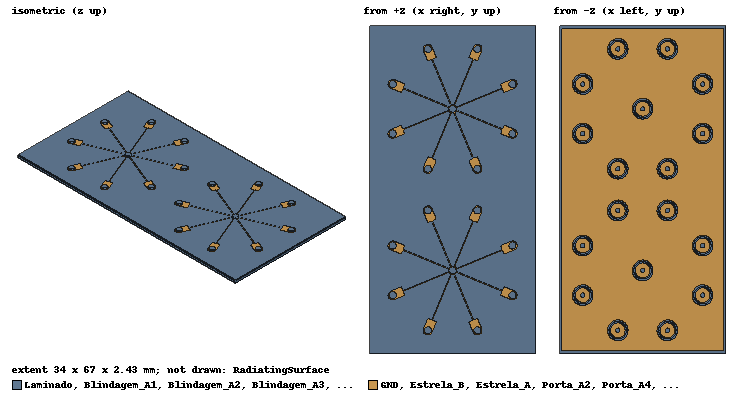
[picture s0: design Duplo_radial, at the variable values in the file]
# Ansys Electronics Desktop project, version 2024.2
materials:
  vacuum: permittivity=1
  ZYF300CA_C: permittivity=2.94 dielectric_loss_tangent=0.0016
  SAC305: permeability=1 conductivity=7575758
  PTFE_UT141: permittivity=2.036 dielectric_loss_tangent=0.0002
  copper: permeability=0.999991 conductivity=58000000

design Duplo_radial (HFSS, HFSS Hybrid Modal Network, model units mm)
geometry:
  Laminado [ZYF300CA_C] = box(corner=(-17mm, -33.5mm, 0mm), size=(34mm, 67mm, 0.76mm))
  GND = polyline(z=0mm, xy in mm: (-16.48, -32.98) (16.48, -32.98) (16.48, 32.98) (-16.48, 32.98) (-16.48, -32.98), closed, covered)
  Estrela_B = polyline(z=0.76mm, xy in mm: (-4.40127891, 3.58931963) (-4.49436279, 3.50768726) (-4.59730548, 3.43890315) (-4.70834561, 3.38414422) (-4.82558325, 3.3443474) (-4.94701244, 3.32019363) (-5.07055548, 3.31209619) (-5.19409852, 3.32019363) (-5.31552771, 3.3443474) (-5.43276535, 3.38414422) (-5.54380548, 3.43890315) (-5.64674817, 3.50768726) (-5.73983205, 3.58931963) (-5.82146442, 3.6824035) (-5.89024852, 3.78534619) (-5.94500746, 3.89638633) (-5.98480427, 4.01362397) (-6.00895804, 4.13505315) (-6.01705548, 4.25859619) (-6.00895804, 4.38213924) (-5.98480427, 4.50356842) (-5.94500746, 4.62080606) (-5.07593338, 6.71893648) (-4.27215819, 6.3860019) (-0.39786573, 15.73937129) (-0.43, 15.75521815) (-0.52353483, 15.81771613) (-0.60811183, 15.89188817) (-0.68228387, 15.97646517) (-0.74478185, 16.07) (-0.76062871, 16.10213427) (-10.1139981, 12.22784181) (-9.78106352, 11.42406662) (-11.87919394, 10.55499254) (-11.87919394, 10.55499254) (-11.99643158, 10.51519573) (-12.11786076, 10.49104196) (-12.24140381, 10.48294452) (-12.36494685, 10.49104196) (-12.48637603, 10.51519573) (-12.60361367, 10.55499254) (-12.71465381, 10.60975148) (-12.8175965, 10.67853558) (-12.91068037, 10.76016795) (-12.99231274, 10.85325183) (-13.06109685, 10.95619452) (-13.11585578, 11.06723465) (-13.1556526, 11.18447229) (-13.17980637, 11.30590148) (-13.18790381, 11.42944452) (-13.17980637, 11.55298756) (-13.1556526, 11.67441675) (-13.11585578, 11.79165439) (-13.06109685, 11.90269452) (-12.99231274, 12.00563721) (-12.91068037, 12.09872109) (-12.8175965, 12.18035346) (-12.71465381, 12.24913757) (-12.60361367, 12.3038965) (-12.60361367, 12.3038965) (-10.50548326, 13.17297057) (-10.17254867, 12.36919538) (-0.81917928, 16.24348784) (-0.83069621, 16.27741562) (-0.85264258, 16.38774747) (-0.86, 16.5) (-0.85264258, 16.61225253) (-0.83069621, 16.72258438) (-0.81917928, 16.75651216) (-10.17254867, 20.63080462) (-10.50548326, 19.82702943) (-12.60361367, 20.6961035) (-12.71465381, 20.75086243) (-12.8175965, 20.81964654) (-12.91068037, 20.90127891) (-12.99231274, 20.99436279) (-13.06109685, 21.09730548) (-13.11585578, 21.20834561) (-13.1556526, 21.32558325) (-13.17980637, 21.44701244) (-13.18790381, 21.57055548) (-13.17980637, 21.69409852) (-13.1556526, 21.81552771) (-13.11585578, 21.93276535) (-13.06109685, 22.04380548) (-12.99231274, 22.14674817) (-12.91068037, 22.23983205) (-12.8175965, 22.32146442) (-12.71465381, 22.39024852) (-12.60361367, 22.44500746) (-12.48637603, 22.48480427) (-12.36494685, 22.50895804) (-12.24140381, 22.51705548) (-12.11786076, 22.50895804) (-11.99643158, 22.48480427) (-11.87919394, 22.44500746) (-11.87919394, 22.44500746) (-9.78106352, 21.57593338) (-10.1139981, 20.77215819) (-0.76062871, 16.89786573) (-0.74478185, 16.93) (-0.68228387, 17.02353483) (-0.60811183, 17.10811183) (-0.52353483, 17.18228387) (-0.43, 17.24478185) (-0.39786573, 17.26062871) (-4.27215819, 26.6139981) (-5.07593338, 26.28106352) (-5.94500746, 28.37919394) (-5.98480427, 28.49643158) (-6.00895804, 28.61786076) (-6.01705548, 28.74140381) (-6.00895804, 28.86494685) (-5.98480427, 28.98637603) (-5.94500746, 29.10361367) (-5.89024852, 29.21465381) (-5.82146442, 29.3175965) (-5.73983205, 29.41068037) (-5.64674817, 29.49231274) (-5.54380548, 29.56109685) (-5.43276535, 29.61585578) (-5.31552771, 29.6556526) (-5.19409852, 29.67980637) (-5.07055548, 29.68790381) (-4.94701244, 29.67980637) (-4.82558325, 29.6556526) (-4.70834561, 29.61585578) (-4.59730548, 29.56109685) (-4.49436279, 29.49231274) (-4.40127891, 29.41068037) (-4.31964654, 29.3175965) (-4.25086243, 29.21465381) (-4.1961035, 29.10361367) (-4.1961035, 29.10361367) (-3.32702943, 27.00548326) (-4.13080462, 26.67254867) (-0.25651216, 17.31917928) (-0.22258438, 17.33069621) (-0.11225253, 17.35264258) (0, 17.36) (0.11225253, 17.35264258) (0.22258438, 17.33069621) (0.25651216, 17.31917928) (4.13080462, 26.67254867) (3.32702943, 27.00548326) (4.1961035, 29.10361367) (4.25086243, 29.21465381) (4.31964654, 29.3175965) (4.40127891, 29.41068037) (4.49436279, 29.49231274) (4.59730548, 29.56109685) (4.70834561, 29.61585578) (4.82558325, 29.6556526) (4.94701244, 29.67980637) (5.07055548, 29.68790381) (5.19409852, 29.67980637) (5.31552771, 29.6556526) (5.43276535, 29.61585578) (5.54380548, 29.56109685) (5.64674817, 29.49231274) (5.73983205, 29.41068037) (5.82146442, 29.3175965) (5.89024852, 29.21465381) (5.94500746, 29.10361367) (5.98480427, 28.98637603) (6.00895804, 28.86494685) (6.01705548, 28.74140381) (6.00895804, 28.61786076) (5.98480427, 28.49643158) (5.94500746, 28.37919394) (5.07593338, 26.28106352) (4.27215819, 26.6139981) (0.39786573, 17.26062871) (0.43, 17.24478185) (0.52353483, 17.18228387) (0.60811183, 17.10811183) (0.68228387, 17.02353483) (0.74478185, 16.93) (0.76062871, 16.89786573) (10.1139981, 20.77215819) (9.78106352, 21.57593338) (11.87919394, 22.44500746) (11.99643158, 22.48480427) (12.11786076, 22.50895804) (12.24140381, 22.51705548) (12.36494685, 22.50895804) (12.48637603, 22.48480427) (12.60361367, 22.44500746) (12.71465381, 22.39024852) (12.8175965, 22.32146442) (12.91068037, 22.23983205) (12.99231274, 22.14674817) (13.06109685, 22.04380548) (13.11585578, 21.93276535) (13.1556526, 21.81552771) (13.17980637, 21.69409852) (13.18790381, 21.57055548) (13.17980637, 21.44701244) (13.1556526, 21.32558325) (13.11585578, 21.20834561) (13.06109685, 21.09730548) (12.99231274, 20.99436279) (12.91068037, 20.90127891) (12.8175965, 20.81964654) (12.71465381, 20.75086243) (12.60361367, 20.6961035) (10.50548326, 19.82702943) (10.17254867, 20.63080462) (0.81917928, 16.75651216) (0.83069621, 16.72258438) (0.85264258, 16.61225253) (0.86, 16.5) (0.85264258, 16.38774747) (0.83069621, 16.27741562) (0.81917928, 16.24348784) (10.17254867, 12.36919538) (10.50548326, 13.17297057) (12.60361367, 12.3038965) (12.71465381, 12.24913757) (12.8175965, 12.18035346) (12.91068037, 12.09872109) (12.99231274, 12.00563721) (13.06109685, 11.90269452) (13.11585578, 11.79165439) (13.1556526, 11.67441675) (13.17980637, 11.55298756) (13.18790381, 11.42944452) (13.17980637, 11.30590148) (13.1556526, 11.18447229) (13.11585578, 11.06723465) (13.06109685, 10.95619452) (12.99231274, 10.85325183) (12.91068037, 10.76016795) (12.8175965, 10.67853558) (12.71465381, 10.60975148) (12.60361367, 10.55499254) (12.48637603, 10.51519573) (12.36494685, 10.49104196) (12.24140381, 10.48294452) (12.11786076, 10.49104196) (11.99643158, 10.51519573) (11.87919394, 10.55499254) (9.78106352, 11.42406662) (10.1139981, 12.22784181) (0.76062871, 16.10213427) (0.74478185, 16.07) (0.68228387, 15.97646517) (0.60811183, 15.89188817) (0.52353483, 15.81771613) (0.43, 15.75521815) (0.39786573, 15.73937129) (4.27215819, 6.3860019) (5.07593338, 6.71893648) (5.94500746, 4.62080606) (5.94500746, 4.62080606) (5.98480427, 4.50356842) (6.00895804, 4.38213924) (6.01705548, 4.25859619) (6.00895804, 4.13505315) (5.98480427, 4.01362397) (5.94500746, 3.89638633) (5.89024852, 3.78534619) (5.82146442, 3.6824035) (5.73983205, 3.58931963) (5.64674817, 3.50768726) (5.54380548, 3.43890315) (5.43276535, 3.38414422) (5.31552771, 3.3443474) (5.19409852, 3.32019363) (5.07055548, 3.31209619) (4.94701244, 3.32019363) (4.82558325, 3.3443474) (4.70834561, 3.38414422) (4.59730548, 3.43890315) (4.49436279, 3.50768726) (4.40127891, 3.58931963) (4.31964654, 3.6824035) (4.25086243, 3.78534619) (4.1961035, 3.89638633) (3.32702943, 5.99451674) (4.13080462, 6.32745133) (0.25651216, 15.68082072) (0.22258438, 15.66930379) (0.11225253, 15.64735742) (0, 15.64) (-0.11225253, 15.64735742) (-0.22258438, 15.66930379) (-0.25651216, 15.68082072) (-4.13080462, 6.32745133) (-3.32702943, 5.99451674) (-4.1961035, 3.89638633) (-4.1961035, 3.89638633) (-4.25086243, 3.78534619) (-4.31964654, 3.6824035) (-4.40127891, 3.58931963), closed, covered)
  Estrela_A = polyline(z=0.76mm, xy in mm: (-4.49436279, -29.49231274) (-4.59730548, -29.56109685) (-4.70834561, -29.61585578) (-4.82558325, -29.6556526) (-4.94701244, -29.67980637) (-5.07055548, -29.68790381) (-5.19409852, -29.67980637) (-5.31552771, -29.6556526) (-5.43276535, -29.61585578) (-5.54380548, -29.56109685) (-5.64674817, -29.49231274) (-5.73983205, -29.41068037) (-5.82146442, -29.3175965) (-5.89024852, -29.21465381) (-5.94500746, -29.10361367) (-5.98480427, -28.98637603) (-6.00895804, -28.86494685) (-6.01705548, -28.74140381) (-6.00895804, -28.61786076) (-5.98480427, -28.49643158) (-5.94500746, -28.37919394) (-5.07593338, -26.28106352) (-4.27215819, -26.6139981) (-0.39786573, -17.26062871) (-0.43, -17.24478185) (-0.52353483, -17.18228387) (-0.60811183, -17.10811183) (-0.68228387, -17.02353483) (-0.74478185, -16.93) (-0.76062871, -16.89786573) (-10.1139981, -20.77215819) (-9.78106352, -21.57593338) (-11.87919394, -22.44500746) (-11.87919394, -22.44500746) (-11.99643158, -22.48480427) (-12.11786076, -22.50895804) (-12.24140381, -22.51705548) (-12.36494685, -22.50895804) (-12.48637603, -22.48480427) (-12.60361367, -22.44500746) (-12.71465381, -22.39024852) (-12.8175965, -22.32146442) (-12.91068037, -22.23983205) (-12.99231274, -22.14674817) (-13.06109685, -22.04380548) (-13.11585578, -21.93276535) (-13.1556526, -21.81552771) (-13.17980637, -21.69409852) (-13.18790381, -21.57055548) (-13.17980637, -21.44701244) (-13.1556526, -21.32558325) (-13.11585578, -21.20834561) (-13.06109685, -21.09730548) (-12.99231274, -20.99436279) (-12.91068037, -20.90127891) (-12.8175965, -20.81964654) (-12.71465381, -20.75086243) (-12.60361367, -20.6961035) (-12.60361367, -20.6961035) (-10.50548326, -19.82702943) (-10.17254867, -20.63080462) (-0.81917928, -16.75651216) (-0.83069621, -16.72258438) (-0.85264258, -16.61225253) (-0.86, -16.5) (-0.85264258, -16.38774747) (-0.83069621, -16.27741562) (-0.81917928, -16.24348784) (-10.17254867, -12.36919538) (-10.50548326, -13.17297057) (-12.60361367, -12.3038965) (-12.71465381, -12.24913757) (-12.8175965, -12.18035346) (-12.91068037, -12.09872109) (-12.99231274, -12.00563721) (-13.06109685, -11.90269452) (-13.11585578, -11.79165439) (-13.1556526, -11.67441675) (-13.17980637, -11.55298756) (-13.18790381, -11.42944452) (-13.17980637, -11.30590148) (-13.1556526, -11.18447229) (-13.11585578, -11.06723465) (-13.06109685, -10.95619452) (-12.99231274, -10.85325183) (-12.91068037, -10.76016795) (-12.8175965, -10.67853558) (-12.71465381, -10.60975148) (-12.60361367, -10.55499254) (-12.48637603, -10.51519573) (-12.36494685, -10.49104196) (-12.24140381, -10.48294452) (-12.11786076, -10.49104196) (-11.99643158, -10.51519573) (-11.87919394, -10.55499254) (-11.87919394, -10.55499254) (-9.78106352, -11.42406662) (-10.1139981, -12.22784181) (-0.76062871, -16.10213427) (-0.74478185, -16.07) (-0.68228387, -15.97646517) (-0.60811183, -15.89188817) (-0.52353483, -15.81771613) (-0.43, -15.75521815) (-0.39786573, -15.73937129) (-4.27215819, -6.3860019) (-5.07593338, -6.71893648) (-5.94500746, -4.62080606) (-5.94500746, -4.62080606) (-5.98480427, -4.50356842) (-6.00895804, -4.38213924) (-6.01705548, -4.25859619) (-6.00895804, -4.13505315) (-5.98480427, -4.01362397) (-5.94500746, -3.89638633) (-5.89024852, -3.78534619) (-5.82146442, -3.6824035) (-5.73983205, -3.58931963) (-5.64674817, -3.50768726) (-5.54380548, -3.43890315) (-5.43276535, -3.38414422) (-5.31552771, -3.3443474) (-5.19409852, -3.32019363) (-5.07055548, -3.31209619) (-4.94701244, -3.32019363) (-4.82558325, -3.3443474) (-4.70834561, -3.38414422) (-4.59730548, -3.43890315) (-4.49436279, -3.50768726) (-4.40127891, -3.58931963) (-4.31964654, -3.6824035) (-4.25086243, -3.78534619) (-4.1961035, -3.89638633) (-4.1961035, -3.89638633) (-4.1961035, -3.89638633) (-3.32702943, -5.99451674) (-4.13080462, -6.32745133) (-0.25651216, -15.68082072) (-0.22258438, -15.66930379) (-0.11225253, -15.64735742) (0, -15.64) (0.11225253, -15.64735742) (0.22258438, -15.66930379) (0.25651216, -15.68082072) (4.13080462, -6.32745133) (3.32702943, -5.99451674) (4.1961035, -3.89638633) (4.25086243, -3.78534619) (4.31964654, -3.6824035) (4.40127891, -3.58931963) (4.49436279, -3.50768726) (4.59730548, -3.43890315) (4.70834561, -3.38414422) (4.82558325, -3.3443474) (4.94701244, -3.32019363) (5.07055548, -3.31209619) (5.19409852, -3.32019363) (5.31552771, -3.3443474) (5.43276535, -3.38414422) (5.54380548, -3.43890315) (5.64674817, -3.50768726) (5.73983205, -3.58931963) (5.82146442, -3.6824035) (5.89024852, -3.78534619) (5.94500746, -3.89638633) (5.98480427, -4.01362397) (6.00895804, -4.13505315) (6.01705548, -4.25859619) (6.00895804, -4.38213924) (5.98480427, -4.50356842) (5.94500746, -4.62080606) (5.94500746, -4.62080606) (5.07593338, -6.71893648) (4.27215819, -6.3860019) (0.39786573, -15.73937129) (0.43, -15.75521815) (0.52353483, -15.81771613) (0.60811183, -15.89188817) (0.68228387, -15.97646517) (0.74478185, -16.07) (0.76062871, -16.10213427) (10.1139981, -12.22784181) (9.78106352, -11.42406662) (11.87919394, -10.55499254) (11.99643158, -10.51519573) (12.11786076, -10.49104196) (12.24140381, -10.48294452) (12.36494685, -10.49104196) (12.48637603, -10.51519573) (12.60361367, -10.55499254) (12.71465381, -10.60975148) (12.8175965, -10.67853558) (12.91068037, -10.76016795) (12.99231274, -10.85325183) (13.06109685, -10.95619452) (13.11585578, -11.06723465) (13.1556526, -11.18447229) (13.17980637, -11.30590148) (13.18790381, -11.42944452) (13.17980637, -11.55298756) (13.1556526, -11.67441675) (13.11585578, -11.79165439) (13.06109685, -11.90269452) (12.99231274, -12.00563721) (12.91068037, -12.09872109) (12.8175965, -12.18035346) (12.71465381, -12.24913757) (12.60361367, -12.3038965) (10.50548326, -13.17297057) (10.17254867, -12.36919538) (0.81917928, -16.24348784) (0.83069621, -16.27741562) (0.85264258, -16.38774747) (0.86, -16.5) (0.85264258, -16.61225253) (0.83069621, -16.72258438) (0.81917928, -16.75651216) (10.17254867, -20.63080462) (10.50548326, -19.82702943) (12.60361367, -20.6961035) (12.71465381, -20.75086243) (12.8175965, -20.81964654) (12.91068037, -20.90127891) (12.99231274, -20.99436279) (13.06109685, -21.09730548) (13.11585578, -21.20834561) (13.1556526, -21.32558325) (13.17980637, -21.44701244) (13.18790381, -21.57055548) (13.17980637, -21.69409852) (13.1556526, -21.81552771) (13.11585578, -21.93276535) (13.06109685, -22.04380548) (12.99231274, -22.14674817) (12.91068037, -22.23983205) (12.8175965, -22.32146442) (12.71465381, -22.39024852) (12.60361367, -22.44500746) (12.48637603, -22.48480427) (12.36494685, -22.50895804) (12.24140381, -22.51705548) (12.11786076, -22.50895804) (11.99643158, -22.48480427) (11.87919394, -22.44500746) (11.87919394, -22.44500746) (9.78106352, -21.57593338) (10.1139981, -20.77215819) (0.76062871, -16.89786573) (0.74478185, -16.93) (0.68228387, -17.02353483) (0.60811183, -17.10811183) (0.52353483, -17.18228387) (0.43, -17.24478185) (0.39786573, -17.26062871) (4.27215819, -26.6139981) (5.07593338, -26.28106352) (5.94500746, -28.37919394) (5.94500746, -28.37919394) (5.98480427, -28.49643158) (6.00895804, -28.61786076) (6.01705548, -28.74140381) (6.00895804, -28.86494685) (5.98480427, -28.98637603) (5.94500746, -29.10361367) (5.89024852, -29.21465381) (5.82146442, -29.3175965) (5.73983205, -29.41068037) (5.64674817, -29.49231274) (5.54380548, -29.56109685) (5.43276535, -29.61585578) (5.31552771, -29.6556526) (5.19409852, -29.67980637) (5.07055548, -29.68790381) (4.94701244, -29.67980637) (4.82558325, -29.6556526) (4.70834561, -29.61585578) (4.59730548, -29.56109685) (4.49436279, -29.49231274) (4.40127891, -29.41068037) (4.31964654, -29.3175965) (4.25086243, -29.21465381) (4.1961035, -29.10361367) (3.32702943, -27.00548326) (4.13080462, -26.67254867) (0.25651216, -17.31917928) (0.22258438, -17.33069621) (0.11225253, -17.35264258) (0, -17.36) (-0.11225253, -17.35264258) (-0.22258438, -17.33069621) (-0.25651216, -17.31917928) (-4.13080462, -26.67254867) (-3.32702943, -27.00548326) (-4.1961035, -29.10361367) (-4.25086243, -29.21465381) (-4.31964654, -29.3175965) (-4.40127891, -29.41068037) (-4.49436279, -29.49231274), closed, covered)
  Abertura_A_IN = circle(normal=Z, centre=(0mm, -16.5mm, 0mm), radius=1.515mm, segments=24)
  Pino_A_IN [copper] = cylinder(axis=Z, base_centre=(0mm, -16.5mm, 0mm), radius=0.525mm, height=0.76mm, segments=24)
  Anel_A_IN = circle(normal=Z, centre=(0mm, -16.5mm, 0mm), radius=0.73mm, segments=24)
  Blindagem_A_IN [copper] = cylinder(axis=Z, base_centre=(0mm, -16.5mm, -1.5mm), radius=1.7905mm, height=1.5mm, segments=24)
  PTFE_A_IN [PTFE_UT141] = cylinder(axis=Z, base_centre=(0mm, -16.5mm, -1.5mm), radius=1.515mm, height=1.5mm, segments=24)
  PTFE_A_IN_1 = PTFE_A_IN.copy()
  Blindagem_A_IN.subtract(PTFE_A_IN_1)
  Central_A_IN [copper] = cylinder(axis=Z, base_centre=(0mm, -16.5mm, -1.5mm), radius=0.45975mm, height=1.5mm, segments=24)
  Central_A_IN_1 = Central_A_IN.copy()
  PTFE_A_IN.subtract(Central_A_IN_1)
  Solda_ext_A_IN [SAC305] = cylinder(axis=Z, base_centre=(0mm, -16.5mm, -0.18mm), radius=2.13mm, height=0.18mm, segments=24)
  Recorte_ext_A_IN = cylinder(axis=Z, base_centre=(0mm, -16.5mm, -0.18mm), radius=1.7905mm, height=0.18mm, segments=24)
  Solda_ext_A_IN.subtract(Recorte_ext_A_IN)
  Solda_top_A_IN [SAC305] = cylinder(axis=Z, base_centre=(0mm, -16.5mm, 0.76mm), radius=0.74mm, height=0.17mm, segments=24)
  Abertura_A1 = circle(normal=Z, centre=(-12.24140381mm, -21.57055548mm, 0mm), radius=1.515mm, segments=24)
  Pino_A1 [copper] = cylinder(axis=Z, base_centre=(-12.24140381mm, -21.57055548mm, 0mm), radius=0.525mm, height=0.76mm, segments=24)
  Anel_A1 = circle(normal=Z, centre=(-12.24140381mm, -21.57055548mm, 0mm), radius=0.73mm, segments=24)
  Blindagem_A1 [copper] = cylinder(axis=Z, base_centre=(-12.24140381mm, -21.57055548mm, -1.5mm), radius=1.7905mm, height=1.5mm, segments=24)
  PTFE_A1 [PTFE_UT141] = cylinder(axis=Z, base_centre=(-12.24140381mm, -21.57055548mm, -1.5mm), radius=1.515mm, height=1.5mm, segments=24)
  PTFE_A1_1 = PTFE_A1.copy()
  Blindagem_A1.subtract(PTFE_A1_1)
  Central_A1 [copper] = cylinder(axis=Z, base_centre=(-12.24140381mm, -21.57055548mm, -1.5mm), radius=0.45975mm, height=1.5mm, segments=24)
  Central_A1_1 = Central_A1.copy()
  PTFE_A1.subtract(Central_A1_1)
  Solda_ext_A1 [SAC305] = cylinder(axis=Z, base_centre=(-12.24140381mm, -21.57055548mm, -0.18mm), radius=2.13mm, height=0.18mm, segments=24)
  Recorte_ext_A1 = cylinder(axis=Z, base_centre=(-12.24140381mm, -21.57055548mm, -0.18mm), radius=1.7905mm, height=0.18mm, segments=24)
  Solda_ext_A1.subtract(Recorte_ext_A1)
  Solda_top_A1 [SAC305] = cylinder(axis=Z, base_centre=(-12.24140381mm, -21.57055548mm, 0.76mm), radius=0.74mm, height=0.17mm, segments=24)
  Abertura_A2 = circle(normal=Z, centre=(-12.24140381mm, -11.42944452mm, 0mm), radius=1.515mm, segments=24)
  Pino_A2 [copper] = cylinder(axis=Z, base_centre=(-12.24140381mm, -11.42944452mm, 0mm), radius=0.525mm, height=0.76mm, segments=24)
  Anel_A2 = circle(normal=Z, centre=(-12.24140381mm, -11.42944452mm, 0mm), radius=0.73mm, segments=24)
  Blindagem_A2 [copper] = cylinder(axis=Z, base_centre=(-12.24140381mm, -11.42944452mm, -1.5mm), radius=1.7905mm, height=1.5mm, segments=24)
  PTFE_A2 [PTFE_UT141] = cylinder(axis=Z, base_centre=(-12.24140381mm, -11.42944452mm, -1.5mm), radius=1.515mm, height=1.5mm, segments=24)
  PTFE_A2_1 = PTFE_A2.copy()
  Blindagem_A2.subtract(PTFE_A2_1)
  Central_A2 [copper] = cylinder(axis=Z, base_centre=(-12.24140381mm, -11.42944452mm, -1.5mm), radius=0.45975mm, height=1.5mm, segments=24)
  Central_A2_1 = Central_A2.copy()
  PTFE_A2.subtract(Central_A2_1)
  Solda_ext_A2 [SAC305] = cylinder(axis=Z, base_centre=(-12.24140381mm, -11.42944452mm, -0.18mm), radius=2.13mm, height=0.18mm, segments=24)
  Recorte_ext_A2 = cylinder(axis=Z, base_centre=(-12.24140381mm, -11.42944452mm, -0.18mm), radius=1.7905mm, height=0.18mm, segments=24)
  Solda_ext_A2.subtract(Recorte_ext_A2)
  Solda_top_A2 [SAC305] = cylinder(axis=Z, base_centre=(-12.24140381mm, -11.42944452mm, 0.76mm), radius=0.74mm, height=0.17mm, segments=24)
  Abertura_A3 = circle(normal=Z, centre=(-5.07055548mm, -28.74140381mm, 0mm), radius=1.515mm, segments=24)
  Pino_A3 [copper] = cylinder(axis=Z, base_centre=(-5.07055548mm, -28.74140381mm, 0mm), radius=0.525mm, height=0.76mm, segments=24)
  Anel_A3 = circle(normal=Z, centre=(-5.07055548mm, -28.74140381mm, 0mm), radius=0.73mm, segments=24)
  Blindagem_A3 [copper] = cylinder(axis=Z, base_centre=(-5.07055548mm, -28.74140381mm, -1.5mm), radius=1.7905mm, height=1.5mm, segments=24)
  PTFE_A3 [PTFE_UT141] = cylinder(axis=Z, base_centre=(-5.07055548mm, -28.74140381mm, -1.5mm), radius=1.515mm, height=1.5mm, segments=24)
  PTFE_A3_1 = PTFE_A3.copy()
  Blindagem_A3.subtract(PTFE_A3_1)
  Central_A3 [copper] = cylinder(axis=Z, base_centre=(-5.07055548mm, -28.74140381mm, -1.5mm), radius=0.45975mm, height=1.5mm, segments=24)
  Central_A3_1 = Central_A3.copy()
  PTFE_A3.subtract(Central_A3_1)
  Solda_ext_A3 [SAC305] = cylinder(axis=Z, base_centre=(-5.07055548mm, -28.74140381mm, -0.18mm), radius=2.13mm, height=0.18mm, segments=24)
  Recorte_ext_A3 = cylinder(axis=Z, base_centre=(-5.07055548mm, -28.74140381mm, -0.18mm), radius=1.7905mm, height=0.18mm, segments=24)
  Solda_ext_A3.subtract(Recorte_ext_A3)
  Solda_top_A3 [SAC305] = cylinder(axis=Z, base_centre=(-5.07055548mm, -28.74140381mm, 0.76mm), radius=0.74mm, height=0.17mm, segments=24)
  Abertura_A4 = circle(normal=Z, centre=(-5.07055548mm, -4.25859619mm, 0mm), radius=1.515mm, segments=24)
  Pino_A4 [copper] = cylinder(axis=Z, base_centre=(-5.07055548mm, -4.25859619mm, 0mm), radius=0.525mm, height=0.76mm, segments=24)
  Anel_A4 = circle(normal=Z, centre=(-5.07055548mm, -4.25859619mm, 0mm), radius=0.73mm, segments=24)
  Blindagem_A4 [copper] = cylinder(axis=Z, base_centre=(-5.07055548mm, -4.25859619mm, -1.5mm), radius=1.7905mm, height=1.5mm, segments=24)
  PTFE_A4 [PTFE_UT141] = cylinder(axis=Z, base_centre=(-5.07055548mm, -4.25859619mm, -1.5mm), radius=1.515mm, height=1.5mm, segments=24)
  PTFE_A4_1 = PTFE_A4.copy()
  Blindagem_A4.subtract(PTFE_A4_1)
  Central_A4 [copper] = cylinder(axis=Z, base_centre=(-5.07055548mm, -4.25859619mm, -1.5mm), radius=0.45975mm, height=1.5mm, segments=24)
  Central_A4_1 = Central_A4.copy()
  PTFE_A4.subtract(Central_A4_1)
  Solda_ext_A4 [SAC305] = cylinder(axis=Z, base_centre=(-5.07055548mm, -4.25859619mm, -0.18mm), radius=2.13mm, height=0.18mm, segments=24)
  Recorte_ext_A4 = cylinder(axis=Z, base_centre=(-5.07055548mm, -4.25859619mm, -0.18mm), radius=1.7905mm, height=0.18mm, segments=24)
  Solda_ext_A4.subtract(Recorte_ext_A4)
  Solda_top_A4 [SAC305] = cylinder(axis=Z, base_centre=(-5.07055548mm, -4.25859619mm, 0.76mm), radius=0.74mm, height=0.17mm, segments=24)
  Abertura_A5 = circle(normal=Z, centre=(5.07055548mm, -28.74140381mm, 0mm), radius=1.515mm, segments=24)
  Pino_A5 [copper] = cylinder(axis=Z, base_centre=(5.07055548mm, -28.74140381mm, 0mm), radius=0.525mm, height=0.76mm, segments=24)
  Anel_A5 = circle(normal=Z, centre=(5.07055548mm, -28.74140381mm, 0mm), radius=0.73mm, segments=24)
  Blindagem_A5 [copper] = cylinder(axis=Z, base_centre=(5.07055548mm, -28.74140381mm, -1.5mm), radius=1.7905mm, height=1.5mm, segments=24)
  PTFE_A5 [PTFE_UT141] = cylinder(axis=Z, base_centre=(5.07055548mm, -28.74140381mm, -1.5mm), radius=1.515mm, height=1.5mm, segments=24)
  PTFE_A5_1 = PTFE_A5.copy()
  Blindagem_A5.subtract(PTFE_A5_1)
  Central_A5 [copper] = cylinder(axis=Z, base_centre=(5.07055548mm, -28.74140381mm, -1.5mm), radius=0.45975mm, height=1.5mm, segments=24)
  Central_A5_1 = Central_A5.copy()
  PTFE_A5.subtract(Central_A5_1)
  Solda_ext_A5 [SAC305] = cylinder(axis=Z, base_centre=(5.07055548mm, -28.74140381mm, -0.18mm), radius=2.13mm, height=0.18mm, segments=24)
  Recorte_ext_A5 = cylinder(axis=Z, base_centre=(5.07055548mm, -28.74140381mm, -0.18mm), radius=1.7905mm, height=0.18mm, segments=24)
  Solda_ext_A5.subtract(Recorte_ext_A5)
  Solda_top_A5 [SAC305] = cylinder(axis=Z, base_centre=(5.07055548mm, -28.74140381mm, 0.76mm), radius=0.74mm, height=0.17mm, segments=24)
  Abertura_A6 = circle(normal=Z, centre=(5.07055548mm, -4.25859619mm, 0mm), radius=1.515mm, segments=24)
  Pino_A6 [copper] = cylinder(axis=Z, base_centre=(5.07055548mm, -4.25859619mm, 0mm), radius=0.525mm, height=0.76mm, segments=24)
  Anel_A6 = circle(normal=Z, centre=(5.07055548mm, -4.25859619mm, 0mm), radius=0.73mm, segments=24)
  Blindagem_A6 [copper] = cylinder(axis=Z, base_centre=(5.07055548mm, -4.25859619mm, -1.5mm), radius=1.7905mm, height=1.5mm, segments=24)
  PTFE_A6 [PTFE_UT141] = cylinder(axis=Z, base_centre=(5.07055548mm, -4.25859619mm, -1.5mm), radius=1.515mm, height=1.5mm, segments=24)
  PTFE_A6_1 = PTFE_A6.copy()
  Blindagem_A6.subtract(PTFE_A6_1)
  Central_A6 [copper] = cylinder(axis=Z, base_centre=(5.07055548mm, -4.25859619mm, -1.5mm), radius=0.45975mm, height=1.5mm, segments=24)
  Central_A6_1 = Central_A6.copy()
  PTFE_A6.subtract(Central_A6_1)
  Solda_ext_A6 [SAC305] = cylinder(axis=Z, base_centre=(5.07055548mm, -4.25859619mm, -0.18mm), radius=2.13mm, height=0.18mm, segments=24)
  Recorte_ext_A6 = cylinder(axis=Z, base_centre=(5.07055548mm, -4.25859619mm, -0.18mm), radius=1.7905mm, height=0.18mm, segments=24)
  Solda_ext_A6.subtract(Recorte_ext_A6)
  Solda_top_A6 [SAC305] = cylinder(axis=Z, base_centre=(5.07055548mm, -4.25859619mm, 0.76mm), radius=0.74mm, height=0.17mm, segments=24)
  Abertura_A7 = circle(normal=Z, centre=(12.24140381mm, -21.57055548mm, 0mm), radius=1.515mm, segments=24)
  Pino_A7 [copper] = cylinder(axis=Z, base_centre=(12.24140381mm, -21.57055548mm, 0mm), radius=0.525mm, height=0.76mm, segments=24)
  Anel_A7 = circle(normal=Z, centre=(12.24140381mm, -21.57055548mm, 0mm), radius=0.73mm, segments=24)
  Blindagem_A7 [copper] = cylinder(axis=Z, base_centre=(12.24140381mm, -21.57055548mm, -1.5mm), radius=1.7905mm, height=1.5mm, segments=24)
  PTFE_A7 [PTFE_UT141] = cylinder(axis=Z, base_centre=(12.24140381mm, -21.57055548mm, -1.5mm), radius=1.515mm, height=1.5mm, segments=24)
  PTFE_A7_1 = PTFE_A7.copy()
  Blindagem_A7.subtract(PTFE_A7_1)
  Central_A7 [copper] = cylinder(axis=Z, base_centre=(12.24140381mm, -21.57055548mm, -1.5mm), radius=0.45975mm, height=1.5mm, segments=24)
  Central_A7_1 = Central_A7.copy()
  PTFE_A7.subtract(Central_A7_1)
  Solda_ext_A7 [SAC305] = cylinder(axis=Z, base_centre=(12.24140381mm, -21.57055548mm, -0.18mm), radius=2.13mm, height=0.18mm, segments=24)
  Recorte_ext_A7 = cylinder(axis=Z, base_centre=(12.24140381mm, -21.57055548mm, -0.18mm), radius=1.7905mm, height=0.18mm, segments=24)
  Solda_ext_A7.subtract(Recorte_ext_A7)
  Solda_top_A7 [SAC305] = cylinder(axis=Z, base_centre=(12.24140381mm, -21.57055548mm, 0.76mm), radius=0.74mm, height=0.17mm, segments=24)
  Abertura_A8 = circle(normal=Z, centre=(12.24140381mm, -11.42944452mm, 0mm), radius=1.515mm, segments=24)
  Pino_A8 [copper] = cylinder(axis=Z, base_centre=(12.24140381mm, -11.42944452mm, 0mm), radius=0.525mm, height=0.76mm, segments=24)
  Anel_A8 = circle(normal=Z, centre=(12.24140381mm, -11.42944452mm, 0mm), radius=0.73mm, segments=24)
  Blindagem_A8 [copper] = cylinder(axis=Z, base_centre=(12.24140381mm, -11.42944452mm, -1.5mm), radius=1.7905mm, height=1.5mm, segments=24)
  PTFE_A8 [PTFE_UT141] = cylinder(axis=Z, base_centre=(12.24140381mm, -11.42944452mm, -1.5mm), radius=1.515mm, height=1.5mm, segments=24)
  PTFE_A8_1 = PTFE_A8.copy()
  Blindagem_A8.subtract(PTFE_A8_1)
  Central_A8 [copper] = cylinder(axis=Z, base_centre=(12.24140381mm, -11.42944452mm, -1.5mm), radius=0.45975mm, height=1.5mm, segments=24)
  Central_A8_1 = Central_A8.copy()
  PTFE_A8.subtract(Central_A8_1)
  Solda_ext_A8 [SAC305] = cylinder(axis=Z, base_centre=(12.24140381mm, -11.42944452mm, -0.18mm), radius=2.13mm, height=0.18mm, segments=24)
  Recorte_ext_A8 = cylinder(axis=Z, base_centre=(12.24140381mm, -11.42944452mm, -0.18mm), radius=1.7905mm, height=0.18mm, segments=24)
  Solda_ext_A8.subtract(Recorte_ext_A8)
  Solda_top_A8 [SAC305] = cylinder(axis=Z, base_centre=(12.24140381mm, -11.42944452mm, 0.76mm), radius=0.74mm, height=0.17mm, segments=24)
  Abertura_B_IN = circle(normal=Z, centre=(0mm, 16.5mm, 0mm), radius=1.515mm, segments=24)
  Pino_B_IN [copper] = cylinder(axis=Z, base_centre=(0mm, 16.5mm, 0mm), radius=0.525mm, height=0.76mm, segments=24)
  Anel_B_IN = circle(normal=Z, centre=(0mm, 16.5mm, 0mm), radius=0.73mm, segments=24)
  Blindagem_B_IN [copper] = cylinder(axis=Z, base_centre=(0mm, 16.5mm, -1.5mm), radius=1.7905mm, height=1.5mm, segments=24)
  PTFE_B_IN [PTFE_UT141] = cylinder(axis=Z, base_centre=(0mm, 16.5mm, -1.5mm), radius=1.515mm, height=1.5mm, segments=24)
  PTFE_B_IN_1 = PTFE_B_IN.copy()
  Blindagem_B_IN.subtract(PTFE_B_IN_1)
  Central_B_IN [copper] = cylinder(axis=Z, base_centre=(0mm, 16.5mm, -1.5mm), radius=0.45975mm, height=1.5mm, segments=24)
  Central_B_IN_1 = Central_B_IN.copy()
  PTFE_B_IN.subtract(Central_B_IN_1)
  Solda_ext_B_IN [SAC305] = cylinder(axis=Z, base_centre=(0mm, 16.5mm, -0.18mm), radius=2.13mm, height=0.18mm, segments=24)
  Recorte_ext_B_IN = cylinder(axis=Z, base_centre=(0mm, 16.5mm, -0.18mm), radius=1.7905mm, height=0.18mm, segments=24)
  Solda_ext_B_IN.subtract(Recorte_ext_B_IN)
  Solda_top_B_IN [SAC305] = cylinder(axis=Z, base_centre=(0mm, 16.5mm, 0.76mm), radius=0.74mm, height=0.17mm, segments=24)
  Abertura_B1 = circle(normal=Z, centre=(-12.24140381mm, 11.42944452mm, 0mm), radius=1.515mm, segments=24)
  Pino_B1 [copper] = cylinder(axis=Z, base_centre=(-12.24140381mm, 11.42944452mm, 0mm), radius=0.525mm, height=0.76mm, segments=24)
  Anel_B1 = circle(normal=Z, centre=(-12.24140381mm, 11.42944452mm, 0mm), radius=0.73mm, segments=24)
  Blindagem_B1 [copper] = cylinder(axis=Z, base_centre=(-12.24140381mm, 11.42944452mm, -1.5mm), radius=1.7905mm, height=1.5mm, segments=24)
  PTFE_B1 [PTFE_UT141] = cylinder(axis=Z, base_centre=(-12.24140381mm, 11.42944452mm, -1.5mm), radius=1.515mm, height=1.5mm, segments=24)
  PTFE_B1_1 = PTFE_B1.copy()
  Blindagem_B1.subtract(PTFE_B1_1)
  Central_B1 [copper] = cylinder(axis=Z, base_centre=(-12.24140381mm, 11.42944452mm, -1.5mm), radius=0.45975mm, height=1.5mm, segments=24)
  Central_B1_1 = Central_B1.copy()
  PTFE_B1.subtract(Central_B1_1)
  Solda_ext_B1 [SAC305] = cylinder(axis=Z, base_centre=(-12.24140381mm, 11.42944452mm, -0.18mm), radius=2.13mm, height=0.18mm, segments=24)
  Recorte_ext_B1 = cylinder(axis=Z, base_centre=(-12.24140381mm, 11.42944452mm, -0.18mm), radius=1.7905mm, height=0.18mm, segments=24)
  Solda_ext_B1.subtract(Recorte_ext_B1)
  Solda_top_B1 [SAC305] = cylinder(axis=Z, base_centre=(-12.24140381mm, 11.42944452mm, 0.76mm), radius=0.74mm, height=0.17mm, segments=24)
  Abertura_B2 = circle(normal=Z, centre=(-12.24140381mm, 21.57055548mm, 0mm), radius=1.515mm, segments=24)
  Pino_B2 [copper] = cylinder(axis=Z, base_centre=(-12.24140381mm, 21.57055548mm, 0mm), radius=0.525mm, height=0.76mm, segments=24)
  Anel_B2 = circle(normal=Z, centre=(-12.24140381mm, 21.57055548mm, 0mm), radius=0.73mm, segments=24)
  Blindagem_B2 [copper] = cylinder(axis=Z, base_centre=(-12.24140381mm, 21.57055548mm, -1.5mm), radius=1.7905mm, height=1.5mm, segments=24)
  PTFE_B2 [PTFE_UT141] = cylinder(axis=Z, base_centre=(-12.24140381mm, 21.57055548mm, -1.5mm), radius=1.515mm, height=1.5mm, segments=24)
  PTFE_B2_1 = PTFE_B2.copy()
  Blindagem_B2.subtract(PTFE_B2_1)
  Central_B2 [copper] = cylinder(axis=Z, base_centre=(-12.24140381mm, 21.57055548mm, -1.5mm), radius=0.45975mm, height=1.5mm, segments=24)
  Central_B2_1 = Central_B2.copy()
  PTFE_B2.subtract(Central_B2_1)
  Solda_ext_B2 [SAC305] = cylinder(axis=Z, base_centre=(-12.24140381mm, 21.57055548mm, -0.18mm), radius=2.13mm, height=0.18mm, segments=24)
  Recorte_ext_B2 = cylinder(axis=Z, base_centre=(-12.24140381mm, 21.57055548mm, -0.18mm), radius=1.7905mm, height=0.18mm, segments=24)
  Solda_ext_B2.subtract(Recorte_ext_B2)
  Solda_top_B2 [SAC305] = cylinder(axis=Z, base_centre=(-12.24140381mm, 21.57055548mm, 0.76mm), radius=0.74mm, height=0.17mm, segments=24)
  Abertura_B3 = circle(normal=Z, centre=(-5.07055548mm, 4.25859619mm, 0mm), radius=1.515mm, segments=24)
  Pino_B3 [copper] = cylinder(axis=Z, base_centre=(-5.07055548mm, 4.25859619mm, 0mm), radius=0.525mm, height=0.76mm, segments=24)
  Anel_B3 = circle(normal=Z, centre=(-5.07055548mm, 4.25859619mm, 0mm), radius=0.73mm, segments=24)
  Blindagem_B3 [copper] = cylinder(axis=Z, base_centre=(-5.07055548mm, 4.25859619mm, -1.5mm), radius=1.7905mm, height=1.5mm, segments=24)
  PTFE_B3 [PTFE_UT141] = cylinder(axis=Z, base_centre=(-5.07055548mm, 4.25859619mm, -1.5mm), radius=1.515mm, height=1.5mm, segments=24)
  PTFE_B3_1 = PTFE_B3.copy()
  Blindagem_B3.subtract(PTFE_B3_1)
  Central_B3 [copper] = cylinder(axis=Z, base_centre=(-5.07055548mm, 4.25859619mm, -1.5mm), radius=0.45975mm, height=1.5mm, segments=24)
  Central_B3_1 = Central_B3.copy()
  PTFE_B3.subtract(Central_B3_1)
  Solda_ext_B3 [SAC305] = cylinder(axis=Z, base_centre=(-5.07055548mm, 4.25859619mm, -0.18mm), radius=2.13mm, height=0.18mm, segments=24)
  Recorte_ext_B3 = cylinder(axis=Z, base_centre=(-5.07055548mm, 4.25859619mm, -0.18mm), radius=1.7905mm, height=0.18mm, segments=24)
  Solda_ext_B3.subtract(Recorte_ext_B3)
  Solda_top_B3 [SAC305] = cylinder(axis=Z, base_centre=(-5.07055548mm, 4.25859619mm, 0.76mm), radius=0.74mm, height=0.17mm, segments=24)
  Abertura_B4 = circle(normal=Z, centre=(-5.07055548mm, 28.74140381mm, 0mm), radius=1.515mm, segments=24)
  Pino_B4 [copper] = cylinder(axis=Z, base_centre=(-5.07055548mm, 28.74140381mm, 0mm), radius=0.525mm, height=0.76mm, segments=24)
  Anel_B4 = circle(normal=Z, centre=(-5.07055548mm, 28.74140381mm, 0mm), radius=0.73mm, segments=24)
  Blindagem_B4 [copper] = cylinder(axis=Z, base_centre=(-5.07055548mm, 28.74140381mm, -1.5mm), radius=1.7905mm, height=1.5mm, segments=24)
  PTFE_B4 [PTFE_UT141] = cylinder(axis=Z, base_centre=(-5.07055548mm, 28.74140381mm, -1.5mm), radius=1.515mm, height=1.5mm, segments=24)
  PTFE_B4_1 = PTFE_B4.copy()
  Blindagem_B4.subtract(PTFE_B4_1)
  Central_B4 [copper] = cylinder(axis=Z, base_centre=(-5.07055548mm, 28.74140381mm, -1.5mm), radius=0.45975mm, height=1.5mm, segments=24)
  Central_B4_1 = Central_B4.copy()
  PTFE_B4.subtract(Central_B4_1)
  Solda_ext_B4 [SAC305] = cylinder(axis=Z, base_centre=(-5.07055548mm, 28.74140381mm, -0.18mm), radius=2.13mm, height=0.18mm, segments=24)
  Recorte_ext_B4 = cylinder(axis=Z, base_centre=(-5.07055548mm, 28.74140381mm, -0.18mm), radius=1.7905mm, height=0.18mm, segments=24)
  Solda_ext_B4.subtract(Recorte_ext_B4)
  Solda_top_B4 [SAC305] = cylinder(axis=Z, base_centre=(-5.07055548mm, 28.74140381mm, 0.76mm), radius=0.74mm, height=0.17mm, segments=24)
  Abertura_B5 = circle(normal=Z, centre=(5.07055548mm, 4.25859619mm, 0mm), radius=1.515mm, segments=24)
  Pino_B5 [copper] = cylinder(axis=Z, base_centre=(5.07055548mm, 4.25859619mm, 0mm), radius=0.525mm, height=0.76mm, segments=24)
  Anel_B5 = circle(normal=Z, centre=(5.07055548mm, 4.25859619mm, 0mm), radius=0.73mm, segments=24)
  Blindagem_B5 [copper] = cylinder(axis=Z, base_centre=(5.07055548mm, 4.25859619mm, -1.5mm), radius=1.7905mm, height=1.5mm, segments=24)
  PTFE_B5 [PTFE_UT141] = cylinder(axis=Z, base_centre=(5.07055548mm, 4.25859619mm, -1.5mm), radius=1.515mm, height=1.5mm, segments=24)
  PTFE_B5_1 = PTFE_B5.copy()
  Blindagem_B5.subtract(PTFE_B5_1)
  Central_B5 [copper] = cylinder(axis=Z, base_centre=(5.07055548mm, 4.25859619mm, -1.5mm), radius=0.45975mm, height=1.5mm, segments=24)
  Central_B5_1 = Central_B5.copy()
  PTFE_B5.subtract(Central_B5_1)
  Solda_ext_B5 [SAC305] = cylinder(axis=Z, base_centre=(5.07055548mm, 4.25859619mm, -0.18mm), radius=2.13mm, height=0.18mm, segments=24)
  Recorte_ext_B5 = cylinder(axis=Z, base_centre=(5.07055548mm, 4.25859619mm, -0.18mm), radius=1.7905mm, height=0.18mm, segments=24)
  Solda_ext_B5.subtract(Recorte_ext_B5)
  Solda_top_B5 [SAC305] = cylinder(axis=Z, base_centre=(5.07055548mm, 4.25859619mm, 0.76mm), radius=0.74mm, height=0.17mm, segments=24)
  Abertura_B6 = circle(normal=Z, centre=(5.07055548mm, 28.74140381mm, 0mm), radius=1.515mm, segments=24)
  Pino_B6 [copper] = cylinder(axis=Z, base_centre=(5.07055548mm, 28.74140381mm, 0mm), radius=0.525mm, height=0.76mm, segments=24)
  Anel_B6 = circle(normal=Z, centre=(5.07055548mm, 28.74140381mm, 0mm), radius=0.73mm, segments=24)
  Blindagem_B6 [copper] = cylinder(axis=Z, base_centre=(5.07055548mm, 28.74140381mm, -1.5mm), radius=1.7905mm, height=1.5mm, segments=24)
  PTFE_B6 [PTFE_UT141] = cylinder(axis=Z, base_centre=(5.07055548mm, 28.74140381mm, -1.5mm), radius=1.515mm, height=1.5mm, segments=24)
  PTFE_B6_1 = PTFE_B6.copy()
  Blindagem_B6.subtract(PTFE_B6_1)
  Central_B6 [copper] = cylinder(axis=Z, base_centre=(5.07055548mm, 28.74140381mm, -1.5mm), radius=0.45975mm, height=1.5mm, segments=24)
  Central_B6_1 = Central_B6.copy()
  PTFE_B6.subtract(Central_B6_1)
  Solda_ext_B6 [SAC305] = cylinder(axis=Z, base_centre=(5.07055548mm, 28.74140381mm, -0.18mm), radius=2.13mm, height=0.18mm, segments=24)
  Recorte_ext_B6 = cylinder(axis=Z, base_centre=(5.07055548mm, 28.74140381mm, -0.18mm), radius=1.7905mm, height=0.18mm, segments=24)
  Solda_ext_B6.subtract(Recorte_ext_B6)
  Solda_top_B6 [SAC305] = cylinder(axis=Z, base_centre=(5.07055548mm, 28.74140381mm, 0.76mm), radius=0.74mm, height=0.17mm, segments=24)
  Abertura_B7 = circle(normal=Z, centre=(12.24140381mm, 11.42944452mm, 0mm), radius=1.515mm, segments=24)
  Pino_B7 [copper] = cylinder(axis=Z, base_centre=(12.24140381mm, 11.42944452mm, 0mm), radius=0.525mm, height=0.76mm, segments=24)
  Anel_B7 = circle(normal=Z, centre=(12.24140381mm, 11.42944452mm, 0mm), radius=0.73mm, segments=24)
  Blindagem_B7 [copper] = cylinder(axis=Z, base_centre=(12.24140381mm, 11.42944452mm, -1.5mm), radius=1.7905mm, height=1.5mm, segments=24)
  PTFE_B7 [PTFE_UT141] = cylinder(axis=Z, base_centre=(12.24140381mm, 11.42944452mm, -1.5mm), radius=1.515mm, height=1.5mm, segments=24)
  PTFE_B7_1 = PTFE_B7.copy()
  Blindagem_B7.subtract(PTFE_B7_1)
  Central_B7 [copper] = cylinder(axis=Z, base_centre=(12.24140381mm, 11.42944452mm, -1.5mm), radius=0.45975mm, height=1.5mm, segments=24)
  Central_B7_1 = Central_B7.copy()
  PTFE_B7.subtract(Central_B7_1)
  Solda_ext_B7 [SAC305] = cylinder(axis=Z, base_centre=(12.24140381mm, 11.42944452mm, -0.18mm), radius=2.13mm, height=0.18mm, segments=24)
  Recorte_ext_B7 = cylinder(axis=Z, base_centre=(12.24140381mm, 11.42944452mm, -0.18mm), radius=1.7905mm, height=0.18mm, segments=24)
  Solda_ext_B7.subtract(Recorte_ext_B7)
  Solda_top_B7 [SAC305] = cylinder(axis=Z, base_centre=(12.24140381mm, 11.42944452mm, 0.76mm), radius=0.74mm, height=0.17mm, segments=24)
  Abertura_B8 = circle(normal=Z, centre=(12.24140381mm, 21.57055548mm, 0mm), radius=1.515mm, segments=24)
  Pino_B8 [copper] = cylinder(axis=Z, base_centre=(12.24140381mm, 21.57055548mm, 0mm), radius=0.525mm, height=0.76mm, segments=24)
  Anel_B8 = circle(normal=Z, centre=(12.24140381mm, 21.57055548mm, 0mm), radius=0.73mm, segments=24)
  Blindagem_B8 [copper] = cylinder(axis=Z, base_centre=(12.24140381mm, 21.57055548mm, -1.5mm), radius=1.7905mm, height=1.5mm, segments=24)
  PTFE_B8 [PTFE_UT141] = cylinder(axis=Z, base_centre=(12.24140381mm, 21.57055548mm, -1.5mm), radius=1.515mm, height=1.5mm, segments=24)
  PTFE_B8_1 = PTFE_B8.copy()
  Blindagem_B8.subtract(PTFE_B8_1)
  Central_B8 [copper] = cylinder(axis=Z, base_centre=(12.24140381mm, 21.57055548mm, -1.5mm), radius=0.45975mm, height=1.5mm, segments=24)
  Central_B8_1 = Central_B8.copy()
  PTFE_B8.subtract(Central_B8_1)
  Solda_ext_B8 [SAC305] = cylinder(axis=Z, base_centre=(12.24140381mm, 21.57055548mm, -0.18mm), radius=2.13mm, height=0.18mm, segments=24)
  Recorte_ext_B8 = cylinder(axis=Z, base_centre=(12.24140381mm, 21.57055548mm, -0.18mm), radius=1.7905mm, height=0.18mm, segments=24)
  Solda_ext_B8.subtract(Recorte_ext_B8)
  Solda_top_B8 [SAC305] = cylinder(axis=Z, base_centre=(12.24140381mm, 21.57055548mm, 0.76mm), radius=0.74mm, height=0.17mm, segments=24)
  GND.subtract(Abertura_A_IN, Abertura_A1..Abertura_A8, Abertura_B_IN, Abertura_B1..Abertura_B8)
  Pino_A_IN_1 = Pino_A_IN.copy()
  Pino_A1_1 = Pino_A1.copy()
  Pino_A2_1 = Pino_A2.copy()
  Pino_A3_1 = Pino_A3.copy()
  Pino_A4_1 = Pino_A4.copy()
  Pino_A5_1 = Pino_A5.copy()
  Pino_A6_1 = Pino_A6.copy()
  Pino_A7_1 = Pino_A7.copy()
  Pino_A8_1 = Pino_A8.copy()
  Pino_B_IN_1 = Pino_B_IN.copy()
  Pino_B1_1 = Pino_B1.copy()
  Pino_B2_1 = Pino_B2.copy()
  Pino_B3_1 = Pino_B3.copy()
  Pino_B4_1 = Pino_B4.copy()
  Pino_B5_1 = Pino_B5.copy()
  Pino_B6_1 = Pino_B6.copy()
  Pino_B7_1 = Pino_B7.copy()
  Pino_B8_1 = Pino_B8.copy()
  Laminado.subtract(Pino_A_IN_1, Pino_A1_1, Pino_A2_1, Pino_A3_1, Pino_A4_1, Pino_A5_1, Pino_A6_1, Pino_A7_1, Pino_A8_1, Pino_B_IN_1, Pino_B1_1, Pino_B2_1, Pino_B3_1, Pino_B4_1, Pino_B5_1, Pino_B6_1, Pino_B7_1, Pino_B8_1)
  Porta_A_IN = circle(normal=Z, centre=(0mm, -16.5mm, -1.5mm), radius=1.515mm, segments=24)
  Buraco_A_IN = circle(normal=Z, centre=(0mm, -16.5mm, -1.5mm), radius=0.45975mm, segments=24)
  Porta_A_IN.subtract(Buraco_A_IN)
  Porta_A1 = circle(normal=Z, centre=(-12.24140381mm, -21.57055548mm, -1.5mm), radius=1.515mm, segments=24)
  Buraco_A1 = circle(normal=Z, centre=(-12.24140381mm, -21.57055548mm, -1.5mm), radius=0.45975mm, segments=24)
  Porta_A1.subtract(Buraco_A1)
  Porta_A2 = circle(normal=Z, centre=(-12.24140381mm, -11.42944452mm, -1.5mm), radius=1.515mm, segments=24)
  Buraco_A2 = circle(normal=Z, centre=(-12.24140381mm, -11.42944452mm, -1.5mm), radius=0.45975mm, segments=24)
  Porta_A2.subtract(Buraco_A2)
  Porta_A3 = circle(normal=Z, centre=(-5.07055548mm, -28.74140381mm, -1.5mm), radius=1.515mm, segments=24)
  Buraco_A3 = circle(normal=Z, centre=(-5.07055548mm, -28.74140381mm, -1.5mm), radius=0.45975mm, segments=24)
  Porta_A3.subtract(Buraco_A3)
  Porta_A4 = circle(normal=Z, centre=(-5.07055548mm, -4.25859619mm, -1.5mm), radius=1.515mm, segments=24)
  Buraco_A4 = circle(normal=Z, centre=(-5.07055548mm, -4.25859619mm, -1.5mm), radius=0.45975mm, segments=24)
  Porta_A4.subtract(Buraco_A4)
  Porta_A5 = circle(normal=Z, centre=(5.07055548mm, -28.74140381mm, -1.5mm), radius=1.515mm, segments=24)
  Buraco_A5 = circle(normal=Z, centre=(5.07055548mm, -28.74140381mm, -1.5mm), radius=0.45975mm, segments=24)
  Porta_A5.subtract(Buraco_A5)
  Porta_A6 = circle(normal=Z, centre=(5.07055548mm, -4.25859619mm, -1.5mm), radius=1.515mm, segments=24)
  Buraco_A6 = circle(normal=Z, centre=(5.07055548mm, -4.25859619mm, -1.5mm), radius=0.45975mm, segments=24)
  Porta_A6.subtract(Buraco_A6)
  Porta_A7 = circle(normal=Z, centre=(12.24140381mm, -21.57055548mm, -1.5mm), radius=1.515mm, segments=24)
  Buraco_A7 = circle(normal=Z, centre=(12.24140381mm, -21.57055548mm, -1.5mm), radius=0.45975mm, segments=24)
  Porta_A7.subtract(Buraco_A7)
  Porta_A8 = circle(normal=Z, centre=(12.24140381mm, -11.42944452mm, -1.5mm), radius=1.515mm, segments=24)
  Buraco_A8 = circle(normal=Z, centre=(12.24140381mm, -11.42944452mm, -1.5mm), radius=0.45975mm, segments=24)
  Porta_A8.subtract(Buraco_A8)
  Porta_B_IN = circle(normal=Z, centre=(0mm, 16.5mm, -1.5mm), radius=1.515mm, segments=24)
  Buraco_B_IN = circle(normal=Z, centre=(0mm, 16.5mm, -1.5mm), radius=0.45975mm, segments=24)
  Porta_B_IN.subtract(Buraco_B_IN)
  Porta_B1 = circle(normal=Z, centre=(-12.24140381mm, 11.42944452mm, -1.5mm), radius=1.515mm, segments=24)
  Buraco_B1 = circle(normal=Z, centre=(-12.24140381mm, 11.42944452mm, -1.5mm), radius=0.45975mm, segments=24)
  Porta_B1.subtract(Buraco_B1)
  Porta_B2 = circle(normal=Z, centre=(-12.24140381mm, 21.57055548mm, -1.5mm), radius=1.515mm, segments=24)
  Buraco_B2 = circle(normal=Z, centre=(-12.24140381mm, 21.57055548mm, -1.5mm), radius=0.45975mm, segments=24)
  Porta_B2.subtract(Buraco_B2)
  Porta_B3 = circle(normal=Z, centre=(-5.07055548mm, 4.25859619mm, -1.5mm), radius=1.515mm, segments=24)
  Buraco_B3 = circle(normal=Z, centre=(-5.07055548mm, 4.25859619mm, -1.5mm), radius=0.45975mm, segments=24)
  Porta_B3.subtract(Buraco_B3)
  Porta_B4 = circle(normal=Z, centre=(-5.07055548mm, 28.74140381mm, -1.5mm), radius=1.515mm, segments=24)
  Buraco_B4 = circle(normal=Z, centre=(-5.07055548mm, 28.74140381mm, -1.5mm), radius=0.45975mm, segments=24)
  Porta_B4.subtract(Buraco_B4)
  Porta_B5 = circle(normal=Z, centre=(5.07055548mm, 4.25859619mm, -1.5mm), radius=1.515mm, segments=24)
  Buraco_B5 = circle(normal=Z, centre=(5.07055548mm, 4.25859619mm, -1.5mm), radius=0.45975mm, segments=24)
  Porta_B5.subtract(Buraco_B5)
  Porta_B6 = circle(normal=Z, centre=(5.07055548mm, 28.74140381mm, -1.5mm), radius=1.515mm, segments=24)
  Buraco_B6 = circle(normal=Z, centre=(5.07055548mm, 28.74140381mm, -1.5mm), radius=0.45975mm, segments=24)
  Porta_B6.subtract(Buraco_B6)
  Porta_B7 = circle(normal=Z, centre=(12.24140381mm, 11.42944452mm, -1.5mm), radius=1.515mm, segments=24)
  Buraco_B7 = circle(normal=Z, centre=(12.24140381mm, 11.42944452mm, -1.5mm), radius=0.45975mm, segments=24)
  Porta_B7.subtract(Buraco_B7)
  Porta_B8 = circle(normal=Z, centre=(12.24140381mm, 21.57055548mm, -1.5mm), radius=1.515mm, segments=24)
  Buraco_B8 = circle(normal=Z, centre=(12.24140381mm, 21.57055548mm, -1.5mm), radius=0.45975mm, segments=24)
  Porta_B8.subtract(Buraco_B8)
  RadiatingSurface [vacuum] = region(absolute_offset=19.646365mm on all sides)
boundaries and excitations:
  Cobre_35um: Finite Conductivity Objects=[GND, Estrela_B, Estrela_A, Anel_A_IN, Anel_A1..Anel_A8, Anel_B_IN, Anel_B1..Anel_B8] UseMaterial Material=copper Thickness=0.035mm Roughness=0.5um IsInternal
  Open1: Radiation Objects=RadiatingSurface
  A_IN: Lumped Port Objects=Porta_A_IN LumpedPortType=Modal Modes{Mode1{IntLine{(0.45975, -16.5, -1.5) -> (1.515, -16.5, -1.5)} CharImp=Zpi RenormImp=50ohm}} Impedance=50ohm
  A1: Lumped Port Objects=Porta_A1 LumpedPortType=Modal Modes{Mode1{IntLine{(-11.78165381, -21.57055548, -1.5) -> (-10.72640381, -21.57055548, -1.5)} CharImp=Zpi RenormImp=50ohm}} Impedance=50ohm
  A2: Lumped Port Objects=Porta_A2 LumpedPortType=Modal Modes{Mode1{IntLine{(-11.78165381, -11.42944452, -1.5) -> (-10.72640381, -11.42944452, -1.5)} CharImp=Zpi RenormImp=50ohm}} Impedance=50ohm
  A3: Lumped Port Objects=Porta_A3 LumpedPortType=Modal Modes{Mode1{IntLine{(-4.61080548, -28.74140381, -1.5) -> (-3.55555548, -28.74140381, -1.5)} CharImp=Zpi RenormImp=50ohm}} Impedance=50ohm
  A4: Lumped Port Objects=Porta_A4 LumpedPortType=Modal Modes{Mode1{IntLine{(-4.61080548, -4.25859619, -1.5) -> (-3.55555548, -4.25859619, -1.5)} CharImp=Zpi RenormImp=50ohm}} Impedance=50ohm
  A5: Lumped Port Objects=Porta_A5 LumpedPortType=Modal Modes{Mode1{IntLine{(5.53030548, -28.74140381, -1.5) -> (6.58555548, -28.74140381, -1.5)} CharImp=Zpi RenormImp=50ohm}} Impedance=50ohm
  A6: Lumped Port Objects=Porta_A6 LumpedPortType=Modal Modes{Mode1{IntLine{(5.53030548, -4.25859619, -1.5) -> (6.58555548, -4.25859619, -1.5)} CharImp=Zpi RenormImp=50ohm}} Impedance=50ohm
  A7: Lumped Port Objects=Porta_A7 LumpedPortType=Modal Modes{Mode1{IntLine{(12.70115381, -21.57055548, -1.5) -> (13.75640381, -21.57055548, -1.5)} CharImp=Zpi RenormImp=50ohm}} Impedance=50ohm
  A8: Lumped Port Objects=Porta_A8 LumpedPortType=Modal Modes{Mode1{IntLine{(12.70115381, -11.42944452, -1.5) -> (13.75640381, -11.42944452, -1.5)} CharImp=Zpi RenormImp=50ohm}} Impedance=50ohm
  B_IN: Lumped Port Objects=Porta_B_IN LumpedPortType=Modal Modes{Mode1{IntLine{(0.45975, 16.5, -1.5) -> (1.515, 16.5, -1.5)} CharImp=Zpi RenormImp=50ohm}} Impedance=50ohm
  B1: Lumped Port Objects=Porta_B1 LumpedPortType=Modal Modes{Mode1{IntLine{(-11.78165381, 11.42944452, -1.5) -> (-10.72640381, 11.42944452, -1.5)} CharImp=Zpi RenormImp=50ohm}} Impedance=50ohm
  B2: Lumped Port Objects=Porta_B2 LumpedPortType=Modal Modes{Mode1{IntLine{(-11.78165381, 21.57055548, -1.5) -> (-10.72640381, 21.57055548, -1.5)} CharImp=Zpi RenormImp=50ohm}} Impedance=50ohm
  B3: Lumped Port Objects=Porta_B3 LumpedPortType=Modal Modes{Mode1{IntLine{(-4.61080548, 4.25859619, -1.5) -> (-3.55555548, 4.25859619, -1.5)} CharImp=Zpi RenormImp=50ohm}} Impedance=50ohm
  B4: Lumped Port Objects=Porta_B4 LumpedPortType=Modal Modes{Mode1{IntLine{(-4.61080548, 28.74140381, -1.5) -> (-3.55555548, 28.74140381, -1.5)} CharImp=Zpi RenormImp=50ohm}} Impedance=50ohm
  B5: Lumped Port Objects=Porta_B5 LumpedPortType=Modal Modes{Mode1{IntLine{(5.53030548, 4.25859619, -1.5) -> (6.58555548, 4.25859619, -1.5)} CharImp=Zpi RenormImp=50ohm}} Impedance=50ohm
  B6: Lumped Port Objects=Porta_B6 LumpedPortType=Modal Modes{Mode1{IntLine{(5.53030548, 28.74140381, -1.5) -> (6.58555548, 28.74140381, -1.5)} CharImp=Zpi RenormImp=50ohm}} Impedance=50ohm
  B7: Lumped Port Objects=Porta_B7 LumpedPortType=Modal Modes{Mode1{IntLine{(12.70115381, 11.42944452, -1.5) -> (13.75640381, 11.42944452, -1.5)} CharImp=Zpi RenormImp=50ohm}} Impedance=50ohm
  B8: Lumped Port Objects=Porta_B8 LumpedPortType=Modal Modes{Mode1{IntLine{(12.70115381, 21.57055548, -1.5) -> (13.75640381, 21.57055548, -1.5)} CharImp=Zpi RenormImp=50ohm}} Impedance=50ohm
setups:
  Divisor: HfssDriven Frequency=5.17GHz MaxDeltaS=0.015 MaximumPasses=14 MinimumPasses=2 MinimumConvergedPasses=1 PercentRefinement=28 BasisOrder=1 PortAccuracy=2 DrivenSolverType="Direct Solver"
    sweep Banda: 5090MHz to 5250MHz step 20MHz; Type=Discrete
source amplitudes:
  A_IN:1: 1W 0deg
  A1:1, A2:1, A3:1, A4:1, A5:1, A6:1, A7:1, A8:1, B_IN:1, B1:1, B2:1, B3:1, B4:1, B5:1, B6:1, B7:1, B8:1: 0W 0deg
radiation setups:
  3D: Infinite Sphere Theta=0deg..180deg step 2deg Phi=-180deg..180deg step 2deg
  Elevation: Infinite Sphere Theta=-180deg..180deg step 1deg Phi=0deg..90deg step 90deg
  Azimuth: Infinite Sphere Theta=90deg..90deg step 0deg Phi=-180deg..180deg step 1deg
